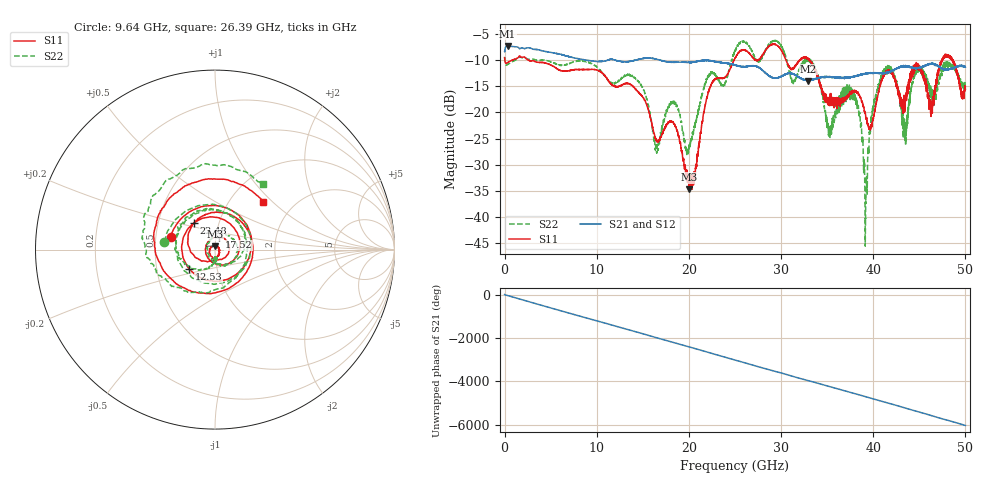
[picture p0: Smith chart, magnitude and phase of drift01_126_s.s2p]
!Created with skrf (http://scikit-rf.org).
# Hz S RI R 50.0
!freq ReS11 ImS11 ReS21 ImS21 ReS12 ImS12 ReS22 ImS22
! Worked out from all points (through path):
!   10001 points, 300 kHz to 50 GHz, reference 50 ohm
!   highest |S21| = -7.33 dB at 325.3 MHz (marker M1); lowest = -14.0 dB at 32.97 GHz (marker M2)
!   group delay of S21, straight-line fit = 335 ps
!   lowest |S11| = -34.7 dB at 20.01 GHz (marker M3), VSWR 1.04, Z = 49.8 + j1.83 ohm
!   |S11| at or under -10 dB: 2.551 GHz to 24.9 GHz (22.35 GHz wide, 163 % of centre); 30.53 GHz to 32.02 GHz (1.485 GHz wide, 4.75 % of centre); 33.07 GHz to 47.45 GHz (14.38 GHz wide, 35.7 % of centre) (the widest 3 of 21)
!   |S22| runs from -45.5 to -6.3 dB; largest |S21 - S12| = 0.011
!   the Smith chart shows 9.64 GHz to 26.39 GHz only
!   S11 on the Smith chart (normalised r, x): 9.64 GHz: 0.60, +0.09; 12.53 GHz: 0.74, -0.17; 17.52 GHz: 1.03, +0.15; 22.48 GHz: 0.76, +0.23; 26.39 GHz: 1.42, +0.88
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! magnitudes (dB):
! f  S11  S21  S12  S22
! 300 kHz  -9.5  -8.4  -8.5  -9.4
! 325.3 MHz  -10.5  -7.3  -7.3  -10.9
! 8.335 GHz  -11.8  -9.8  -9.8  -10.2
! 9.64 GHz  -11.8  -10.2  -10.2  -10.9
! 12.53 GHz  -14.9  -10.2  -10.3  -13.7
! 16.67 GHz  -25.6  -10.0  -9.9  -27.2
! 17.52 GHz  -22.6  -10.3  -10.3  -20.0
! 20.01 GHz  -34.7  -10.5  -10.4  -26.6
! 22.48 GHz  -14.5  -10.2  -10.1  -12.6
! 25 GHz  -9.6  -11.0  -11.0  -8.3
! 26.39 GHz  -8.5  -11.2  -11.2  -6.9
! 32.97 GHz  -9.8  -14.0  -13.9  -10.0
! 33.34 GHz  -10.7  -13.8  -13.8  -10.6
! 35.26 GHz  -18.1  -13.2  -13.2  -23.7
! 37.97 GHz  -15.9  -13.1  -13.1  -17.3
! 39.17 GHz  -20.6  -12.6  -12.6  -40.1
! 40.13 GHz  -20.1  -12.5  -12.5  -17.9
! 41.67 GHz  -11.9  -12.3  -12.3  -11.8
! 43.45 GHz  -18.1  -11.2  -11.2  -24.5
! 44.88 GHz  -11.1  -11.5  -11.6  -11.9
! 46.27 GHz  -20.8  -10.8  -10.7  -16.5
! 50 GHz  -15.6  -11.4  -11.3  -15.3
